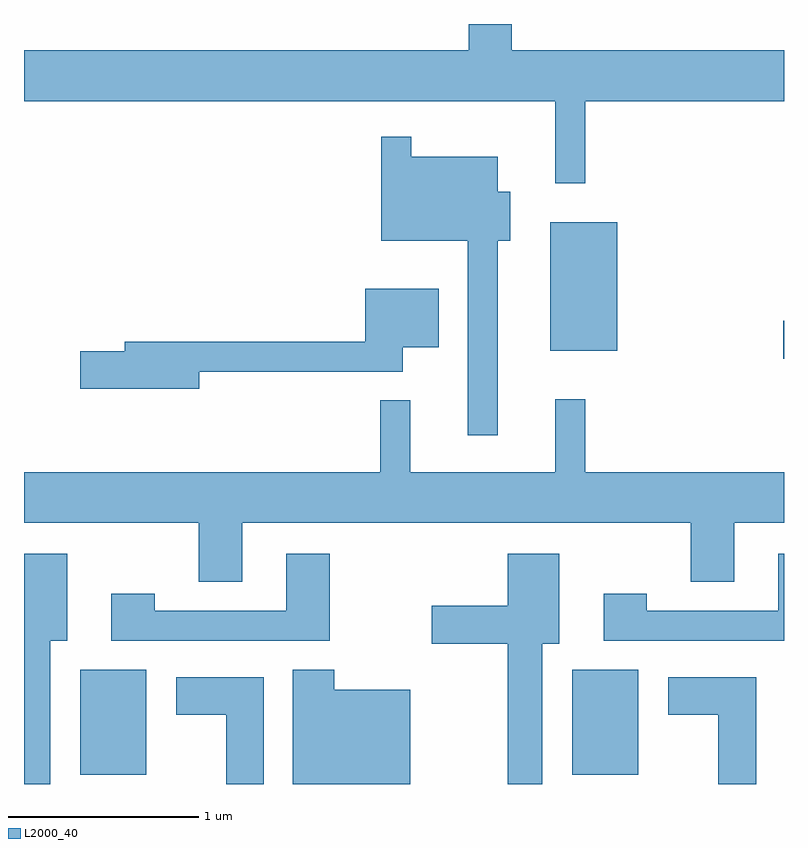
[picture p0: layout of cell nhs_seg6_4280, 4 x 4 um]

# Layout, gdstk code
import gdstk
lib = gdstk.Library(unit=1e-6, precision=1e-09)
def R(c, l, rs):  # rectangles x0, y0, x1, y1
    for r in rs: c.add(gdstk.rectangle(r[:2], r[2:], *l))
def P(c, l, *ps):  # polygons
    for p in ps: c.add(gdstk.Polygon(p, *l))
L2000_40 = (2000, 40)

nhs_seg6_4280 = lib.new_cell('nhs_seg6_4280')
R(nhs_seg6_4280, L2000_40, [(315.906,1604.211,316.254,1604.764), (318.496,1604.211,318.844,1604.764), (319.606,1606.401,319.611,1606.599), (318.381,1606.441,318.734,1607.119)])
P(nhs_seg6_4280, L2000_40, [(318.564,1607.756),(319.611,1607.756),(319.611,1608.024),(318.179,1608.024),(318.179,1608.162),(317.951,1608.162),(317.951,1608.024),(315.611,1608.024),(315.611,1607.756),(318.406,1607.756),(318.406,1607.323),(318.564,1607.323)],
  [(318.104,1607.021),(318.169,1607.021),(318.169,1607.279),(318.104,1607.279),(318.104,1607.464),(317.649,1607.464),(317.649,1607.568),(317.491,1607.568),(317.491,1607.021),(317.946,1607.021),(317.946,1605.998),(318.104,1605.998)],
  [(316.534,1606.331),(317.604,1606.331),(317.604,1606.461),(317.794,1606.461),(317.794,1606.769),(317.406,1606.769),(317.406,1606.489),(316.141,1606.489),(316.141,1606.439),(315.906,1606.439),(315.906,1606.241),(316.534,1606.241)],
  [(319.121,1605.226),(319.349,1605.226),(319.349,1605.536),(319.611,1605.536),(319.611,1605.804),(318.564,1605.804),(318.564,1606.188),(318.406,1606.188),(318.406,1605.804),(317.644,1605.804),(317.644,1606.183),(317.486,1606.183),(317.486,1605.804),(315.611,1605.804),(315.611,1605.536),(316.531,1605.536),(316.531,1605.226),(316.759,1605.226),(316.759,1605.536),(319.121,1605.536)],
  [(317.219,1605.374),(316.991,1605.374),(316.991,1605.074),(316.299,1605.074),(316.299,1605.164),(316.071,1605.164),(316.071,1604.916),(317.219,1604.916)],
  [(318.339,1604.901),(318.429,1604.901),(318.429,1605.374),(318.156,1605.374),(318.156,1605.099),(317.756,1605.099),(317.756,1604.901),(318.156,1604.901),(318.156,1604.162),(318.339,1604.162)],
  [(315.749,1604.916),(315.839,1604.916),(315.839,1605.374),(315.611,1605.374),(315.611,1604.162),(315.749,1604.162)],
  [(319.611,1605.374),(319.581,1605.374),(319.581,1605.074),(318.889,1605.074),(318.889,1605.164),(318.661,1605.164),(318.661,1604.916),(319.611,1604.916)],
  [(317.644,1604.659),(317.244,1604.659),(317.244,1604.764),(317.026,1604.764),(317.026,1604.162),(317.644,1604.162)],
  [(316.874,1604.724),(316.411,1604.724),(316.411,1604.526),(316.676,1604.526),(316.676,1604.162),(316.874,1604.162)],
  [(319.464,1604.724),(319.001,1604.724),(319.001,1604.526),(319.266,1604.526),(319.266,1604.162),(319.464,1604.162)])

lib.write_gds('nhs_seg6_4280.gds')
